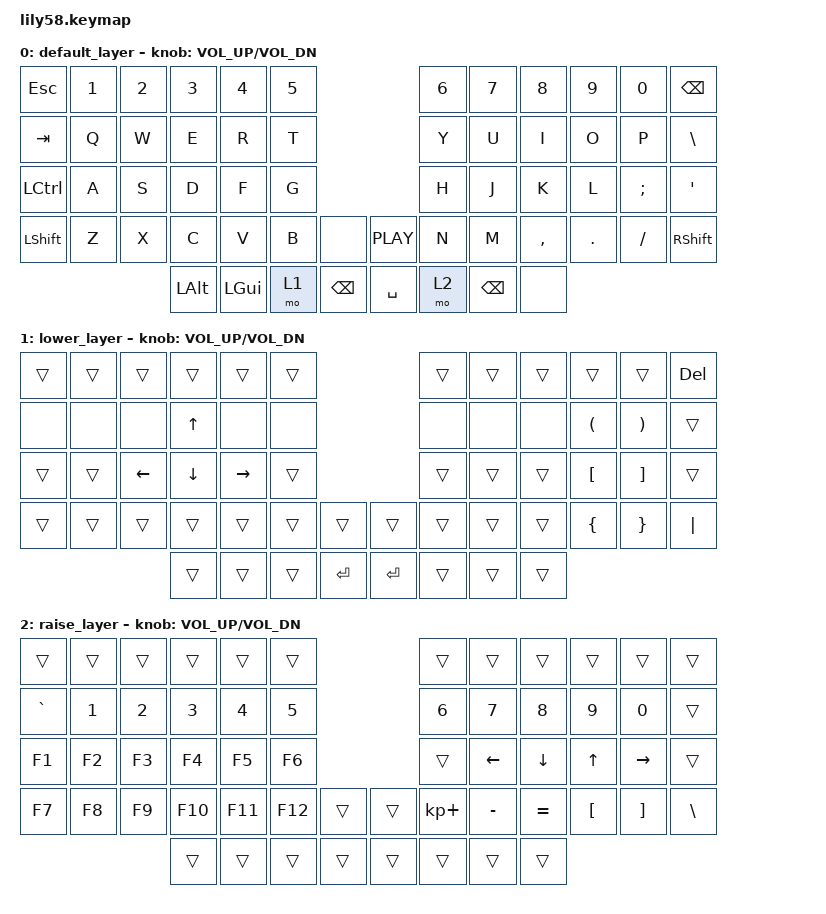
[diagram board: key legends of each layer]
/*
 * Copyright (c) 2020 The ZMK Contributors
 *
 * SPDX-License-Identifier: MIT
 */

#include <behaviors.dtsi>
#include <dt-bindings/zmk/keys.h>
#include <dt-bindings/zmk/bt.h>
#include <dt-bindings/zmk/ext_power.h>

/ {
	keymap {
		compatible = "zmk,keymap";

		default_layer {
// ------------------------------------------------------------------------------------------------------------
// |  ESC  |  1  |  2  |  3   |  4   |  5   |                   |  6   |  7    |  8    |  9   |   0   |   BSPC   |
// |  TAB  |  Q  |  W  |  E   |  R   |  T   |                   |  Y   |  U    |  I    |  O   |   P   |   BSLH   |
// |  CTRL |  A  |  S  |  D   |  F   |  G   |                   |  H   |  J    |  K    |  L   |   ;   |    '     |
// | SHIFT |  Z  |  X  |  C   |  V   |  B   |  none |  | "play" |  N   |  M    |  ,    |  .   |   /   |   SHIFT  |
//                     | ALT  | GUI  | LOWER|  BSPC |  | SPACE  | RAISE| BSPC  | none  |
			bindings = <
&kp ESC   &kp N1 &kp N2 &kp N3   &kp N4   &kp N5                     &kp N6     &kp N7   &kp N8    &kp N9    &kp N0   &kp BSPC
&kp TAB   &kp Q  &kp W  &kp E    &kp R    &kp T                      &kp Y      &kp U    &kp I     &kp O     &kp P    &kp BSLH
&kp LCTRL &kp A  &kp S  &kp D    &kp F    &kp G                      &kp H      &kp J    &kp K     &kp L     &kp SEMI &kp SQT
&kp LSHFT &kp Z  &kp X  &kp C    &kp V    &kp B  &none    &kp C_PLAY &kp N      &kp M    &kp COMMA &kp DOT   &kp FSLH &kp RSHFT
                        &kp LALT &kp LGUI &mo 1  &kp BSPC  &kp SPACE &mo 2      &kp BSPC &none
			>;

			sensor-bindings = <&inc_dec_kp C_VOL_UP C_VOL_DN>;
		};

		lower_layer {
// ------------------------------------------------------------------------------------------------------------
// |       |     |     |      |      |      |                   |      |       |       |      |       |  DEL  |
// |       |     |     |  up  |      |      |                   |      |       |       |   (  |   )   |       |
// |       |     |left | down |right |      |                   |      |       |       |   [  |   ]   |       |
// |       |     |     |      |      |      |        |  |       |      |       |       |   {  |   }   |  "|"  |
//                     |      |      |      |  enter |  | enter |      |       |       |
			bindings = <
&trans    &trans    &trans   &trans    &trans      &trans                  &trans     &trans    &trans          &trans    &trans   &kp DEL
&none     &none     &none    &kp UP    &none       &none                   &none      &none     &none           &kp LPAR  &kp RPAR &trans
&trans    &trans    &kp LEFT &kp DOWN  &kp RIGHT   &trans                  &trans     &trans    &trans          &kp LBKT  &kp RBKT &trans
&trans    &trans    &trans   &trans    &trans      &trans &trans  &trans   &trans     &trans    &trans          &kp LBRC  &kp RBRC &kp PIPE
                             &trans    &trans      &trans &kp RET &kp RET  &trans     &trans    &trans
			>;

			sensor-bindings = <&inc_dec_kp C_VOL_UP C_VOL_DN>;
		};

		raise_layer {
// ------------------------------------------------------------------------------------------------------------
// |       |     |     |      |      |      |                   |      |       |       |      |       |       |
// |   `   |  1  |  2  |  3   |  4   |  5   |                   |  6   |   7   |   8   |  9   |   0   |       |
// |   F1  |  F2 |  F3 |  F4  |  F5  |  F6  |                   |      |   <-  |   v   |  ^   |  ->   |       |
// |   F7  |  F8 |  F9 |  F10 |  F11 |  F12 |        |  |       |  +   |   -   |   =   |  [   |   ]   |   \   |
//                     |      |      |      |        |  |       |      |       |       |
			bindings = <
&trans    &trans &trans &trans  &trans  &trans                       &trans      &trans    &trans    &trans   &trans    &trans
&kp GRAVE &kp N1 &kp N2 &kp N3  &kp N4  &kp N5                       &kp N6      &kp N7    &kp N8    &kp N9   &kp N0    &trans
&kp F1    &kp F2 &kp F3 &kp F4  &kp F5  &kp F6                       &trans      &kp LEFT  &kp DOWN  &kp UP   &kp RIGHT &trans
&kp F7    &kp F8 &kp F9 &kp F10 &kp F11 &kp F12   &trans   &trans    &kp KP_PLUS &kp MINUS &kp EQUAL &kp LBKT &kp RBKT  &kp BSLH
                        &trans  &trans  &trans    &trans   &trans    &trans      &trans    &trans
			>;

			sensor-bindings = <&inc_dec_kp C_VOL_UP C_VOL_DN>;
		};
	};
};
